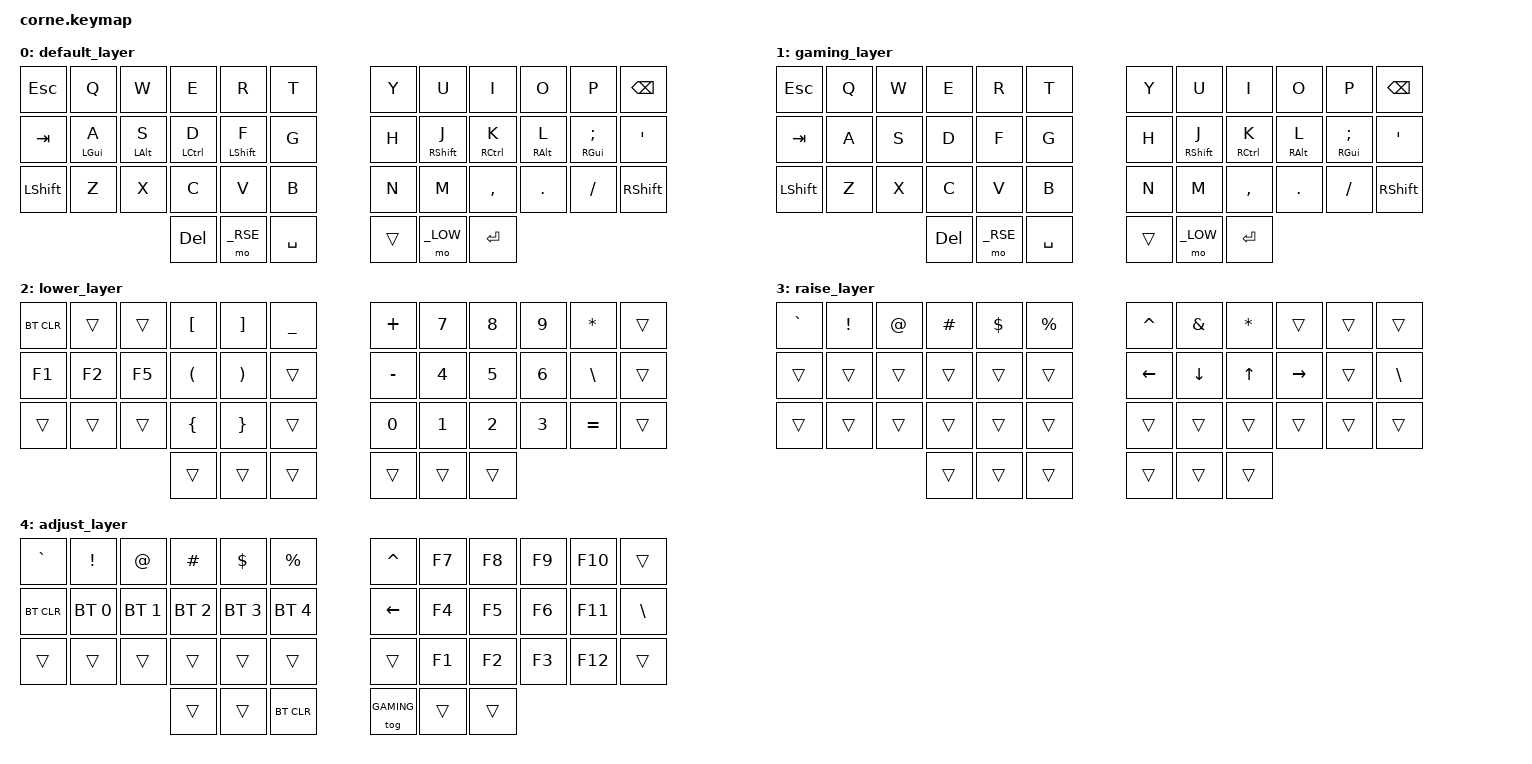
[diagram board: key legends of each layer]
/*
 * Copyright (c) 2020 The ZMK Contributors
 *
 * SPDX-License-Identifier: MIT
 */

#include <behaviors.dtsi>
#include <dt-bindings/zmk/keys.h>
#include <dt-bindings/zmk/bt.h>

#define DEFAULT 0
#define GAMING  1
#define _LOW    2
#define _RSE    3
#define _NAV    4
#define _ADJ    5

/ {
        conditional_layers {
                compatible = "zmk,conditional-layers";
                tri_layer {
                if-layers = <2 3>;
                then-layer = <4>;
                };
        };
        behaviors {
                hm: homerow_mods {
                        compatible = "zmk,behavior-hold-tap";
                        label = "HOMEROW_MODS";
                        #binding-cells = <2>;
                        tapping-term-ms = <160>;
                        quick_tap_ms = <0>;
                        flavor = "tap-preferred";
                        bindings = <&kp>, <&kp>;
                };
        };
        keymap {
                compatible = "zmk,keymap";


        // =====================
        //       0 DEFAULT
        // =====================
                default_layer {
                        bindings = <

     //,-----------------------------------------------------------------.                        ,-----------------------------------------------------------------.
          &kp ESC    &kp Q       &kp W      &kp E      &kp R      &kp T                               &kp Y      &kp U     &kp I      &kp O      &kp P     &kp BSPC
     //|----------+----------+----------+----------+----------+----------|                        |----------+----------+----------+----------+----------+----------|
        &kp TAB   &hm LGUI A &hm LALT S &hm LCTRL D &hm LSHFT F  &kp G                                &kp H  &hm RSHFT J &hm RCTRL K &hm RALT L &hm RGUI SEMI &kp SQT
     //|----------+----------+----------+----------+----------+----------|                        |----------+----------+----------+----------+----------+----------|
        &kp LSHFT    &kp Z       &kp X      &kp C      &kp V      &kp B                               &kp N      &kp M    &kp COMMA   &kp DOT   &kp FSLH  &kp RSHFT
     //|----------+----------+----------+----------+----------+----------+----------|  |----------+----------+----------+----------+----------+----------+----------|
                                                      &kp DEL   &mo _RSE  &kp SPACE       &trans    &mo _LOW   &kp RET
                                                 //`--------------------------------'  `--------------------------------'
                        >;
                };

        // =====================
        //      1 GAMING
        // =====================
                gaming_layer {
                        bindings = <

     //,-----------------------------------------------------------------.                        ,-----------------------------------------------------------------.
          &kp ESC    &kp Q       &kp W      &kp E      &kp R      &kp T                               &kp Y      &kp U     &kp I      &kp O      &kp P     &kp BSPC
     //|----------+----------+----------+----------+----------+----------|                        |----------+----------+----------+----------+----------+----------|
        &kp TAB      &kp A       &kp S      &kp D      &kp F      &kp G                               &kp H  &hm RSHFT J &hm RCTRL K &hm RALT L &hm RGUI SEMI &kp SQT
     //|----------+----------+----------+----------+----------+----------|                        |----------+----------+----------+----------+----------+----------|
        &kp LSHFT    &kp Z       &kp X      &kp C      &kp V      &kp B                               &kp N      &kp M    &kp COMMA   &kp DOT   &kp FSLH  &kp RSHFT
     //|----------+----------+----------+----------+----------+----------+----------|  |----------+----------+----------+----------+----------+----------+----------|
                                                      &kp DEL   &mo _RSE  &kp SPACE       &trans    &mo _LOW   &kp RET
                                                 //`--------------------------------'  `--------------------------------'
                        >;
                };

        // =====================
        //       2 LOWER
        // =====================
                lower_layer {
                        bindings = <
     //,-----------------------------------------------------.                    ,-----------------------------------------------------.
       &bt BT_CLR  &trans   &trans &kp LBKT &kp RBKT &kp UNDER                     &kp PLUS  &kp N7   &kp N8   &kp N9 &kp ASTRK  &trans
     //|--------+--------+--------+--------+--------+--------|                    |--------+--------+--------+--------+--------+--------|
          &kp F1   &kp F2   &kp F5 &kp LPAR &kp RPAR   &trans                      &kp MINUS &kp N4   &kp N5   &kp N6 &kp BSLH   &trans
     //|--------+--------+--------+--------+--------+--------|                    |--------+--------+--------+--------+--------+--------|
         &trans   &trans   &trans &kp LBRC &kp RBRC   &trans                        &kp N0   &kp N1   &kp N2   &kp N3 &kp EQUAL  &trans
     //|--------+--------+--------+--------+--------+--------+--------|  |--------+--------+--------+--------+--------+--------+--------|
                                             &trans   &trans   &trans      &trans   &trans   &trans
                                         //`--------------------------'  `--------------------------'
                        >;
                };

                
        // =====================
        //       3 RAISE
        // =====================
                raise_layer {
                        bindings = <
     //,-----------------------------------------------------.                    ,-----------------------------------------------------.
       &kp GRAVE &kp EXCL   &kp AT &kp HASH &kp DLLR &kp PRCNT                     &kp CARET &kp AMPS &kp STAR  &trans   &trans   &trans
     //|--------+--------+--------+--------+--------+--------|                    |--------+--------+--------+--------+--------+--------|
          &trans   &trans   &trans   &trans   &trans   &trans                      &kp LEFT &kp DOWN   &kp UP &kp RIGHT  &trans &kp BSLH
     //|--------+--------+--------+--------+--------+--------|                    |--------+--------+--------+--------+--------+--------|
          &trans   &trans   &trans   &trans   &trans   &trans                        &trans   &trans   &trans   &trans   &trans   &trans
     //|--------+--------+--------+--------+--------+--------+--------|  |--------+--------+--------+--------+--------+--------+--------|
                                             &trans   &trans   &trans      &trans   &trans   &trans
                                         //`--------------------------'  `--------------------------'
                        >;
                };


        // =====================
        //       4 ADJUST
        // =====================
                adjust_layer {
                        bindings = <
     //,-----------------------------------------------------------------.                    ,-----------------------------------------------------------------.
       &kp GRAVE &kp EXCL   &kp AT &kp HASH &kp DLLR &kp PRCNT                     &kp CARET  &kp F7   &kp F8   &kp F9  &kp F10   &trans
     //|----------+----------+----------+----------+----------+----------|                    |--------+--------+--------+--------+--------+--------|
      &bt BT_CLR &bt BT_SEL 0 &bt BT_SEL 1 &bt BT_SEL 2 &bt BT_SEL 3 &bt BT_SEL 4                      &kp LEFT   &kp F4   &kp F5   &kp F6  &kp F11 &kp BSLH
     //|----------+----------+----------+----------+----------+----------|                    |--------+--------+--------+--------+--------+--------|
          &trans   &trans   &trans   &trans   &trans   &trans                        &trans   &kp F1   &kp F2   &kp F3  &kp F12   &trans
     //|----------+----------+----------+----------+----------+----------+----------|  |--------+--------+--------+--------+--------+--------+--------|
                                             &trans   &trans  &bt BT_CLR   &tog GAMING   &trans   &trans
                                         //`--------------------------'  `--------------------------'
                        >;
                };
        };
};


/*
manifest:
  remotes:
    - name: zmkfirmware
      url-base: https://github.com/zmkfirmware
  projects:
    - name: zmk
      remote: zmkfirmware
      revision: main
      import: app/west.yml
  self:
    path: config
*/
